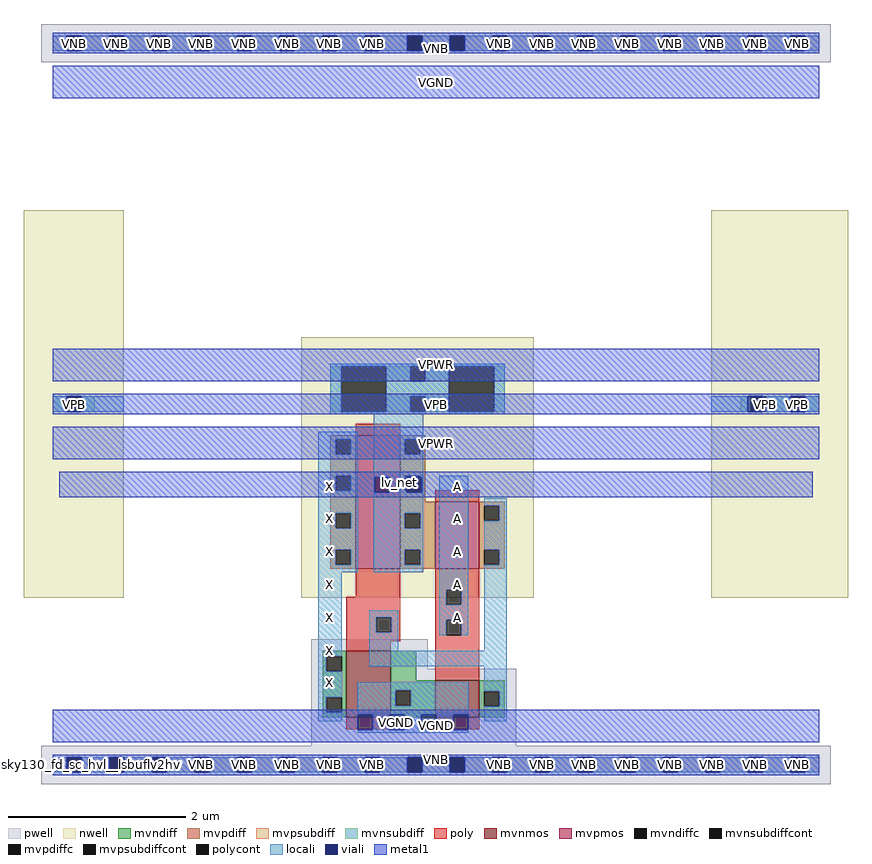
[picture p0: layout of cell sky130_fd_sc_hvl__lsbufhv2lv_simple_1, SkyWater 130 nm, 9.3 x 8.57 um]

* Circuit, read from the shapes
.subckt sky130_fd_sc_hvl__lsbufhv2lv_simple_1 A LVPWR VGND VNB VPB VPWR X
XM1 VGND n1 X VNB sky130_fd_pr__nfet_g5v0d10v5 w=0.75 l=0.5
XM2 n1 A VGND VNB sky130_fd_pr__nfet_g5v0d10v5 w=0.42 l=0.5
XM3 LVPWR n1 X LVPWR sky130_fd_pr__pfet_g5v0d10v5 w=1.5 l=0.5
XM4 n1 A LVPWR LVPWR sky130_fd_pr__pfet_g5v0d10v5 w=0.75 l=0.5
.ends

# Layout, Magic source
magic
tech sky130A
magscale 1 2
<< nwell >>
rect -66 377 160 1251
rect 560 377 1085 965
rect 1485 377 1794 1251
<< pwell >>
rect -26 1585 1754 1671
rect 583 217 845 283
rect 583 43 1045 217
rect -26 -43 1754 43
<< mvnmos >>
rect 662 107 762 257
rect 862 107 962 191
<< mvpmos >>
rect 683 443 783 743
rect 862 443 962 593
<< mvndiff >>
rect 609 245 662 257
rect 609 211 617 245
rect 651 211 662 245
rect 609 153 662 211
rect 609 119 617 153
rect 651 119 662 153
rect 609 107 662 119
rect 762 191 819 257
rect 762 168 862 191
rect 762 134 773 168
rect 807 134 862 168
rect 762 107 862 134
rect 962 166 1019 191
rect 962 132 973 166
rect 1007 132 1019 166
rect 962 107 1019 132
<< mvpdiff >>
rect 626 735 683 743
rect 626 701 638 735
rect 672 701 683 735
rect 626 652 683 701
rect 626 618 638 652
rect 672 618 683 652
rect 626 568 683 618
rect 626 534 638 568
rect 672 534 683 568
rect 626 485 683 534
rect 626 451 638 485
rect 672 451 683 485
rect 626 443 683 451
rect 783 735 840 743
rect 783 701 794 735
rect 828 701 840 735
rect 783 652 840 701
rect 783 618 794 652
rect 828 618 840 652
rect 783 593 840 618
rect 783 568 862 593
rect 783 534 794 568
rect 828 534 862 568
rect 783 485 862 534
rect 783 451 794 485
rect 828 451 862 485
rect 783 443 862 451
rect 962 585 1019 593
rect 962 551 973 585
rect 1007 551 1019 585
rect 962 485 1019 551
rect 962 451 973 485
rect 1007 451 1019 485
rect 962 443 1019 451
<< mvndiffc >>
rect 617 211 651 245
rect 617 119 651 153
rect 773 134 807 168
rect 973 132 1007 166
<< mvpdiffc >>
rect 638 701 672 735
rect 638 618 672 652
rect 638 534 672 568
rect 638 451 672 485
rect 794 701 828 735
rect 794 618 828 652
rect 794 534 828 568
rect 794 451 828 485
rect 973 551 1007 585
rect 973 451 1007 485
<< mvpsubdiff >>
rect 0 1611 31 1645
rect 65 1611 127 1645
rect 161 1611 223 1645
rect 257 1611 319 1645
rect 353 1611 415 1645
rect 449 1611 511 1645
rect 545 1611 607 1645
rect 641 1611 703 1645
rect 737 1611 799 1645
rect 833 1611 895 1645
rect 929 1611 991 1645
rect 1025 1611 1087 1645
rect 1121 1611 1183 1645
rect 1217 1611 1279 1645
rect 1313 1611 1375 1645
rect 1409 1611 1471 1645
rect 1505 1611 1567 1645
rect 1601 1611 1663 1645
rect 1697 1611 1728 1645
rect 0 -17 31 17
rect 65 -17 127 17
rect 161 -17 223 17
rect 257 -17 319 17
rect 353 -17 415 17
rect 449 -17 511 17
rect 545 -17 607 17
rect 641 -17 703 17
rect 737 -17 799 17
rect 833 -17 895 17
rect 929 -17 991 17
rect 1025 -17 1087 17
rect 1121 -17 1183 17
rect 1217 -17 1279 17
rect 1313 -17 1375 17
rect 1409 -17 1471 17
rect 1505 -17 1567 17
rect 1601 -17 1663 17
rect 1697 -17 1728 17
<< mvnsubdiff >>
rect 0 797 31 831
rect 65 797 94 831
rect 626 797 650 899
rect 752 865 806 899
rect 840 865 893 899
rect 752 831 893 865
rect 752 797 806 831
rect 840 797 893 831
rect 995 797 1019 899
rect 1551 797 1575 831
rect 1609 797 1663 831
rect 1697 797 1728 831
<< mvpsubdiffcont >>
rect 31 1611 65 1645
rect 127 1611 161 1645
rect 223 1611 257 1645
rect 319 1611 353 1645
rect 415 1611 449 1645
rect 511 1611 545 1645
rect 607 1611 641 1645
rect 703 1611 737 1645
rect 799 1611 833 1645
rect 895 1611 929 1645
rect 991 1611 1025 1645
rect 1087 1611 1121 1645
rect 1183 1611 1217 1645
rect 1279 1611 1313 1645
rect 1375 1611 1409 1645
rect 1471 1611 1505 1645
rect 1567 1611 1601 1645
rect 1663 1611 1697 1645
rect 31 -17 65 17
rect 127 -17 161 17
rect 223 -17 257 17
rect 319 -17 353 17
rect 415 -17 449 17
rect 511 -17 545 17
rect 607 -17 641 17
rect 703 -17 737 17
rect 799 -17 833 17
rect 895 -17 929 17
rect 991 -17 1025 17
rect 1087 -17 1121 17
rect 1183 -17 1217 17
rect 1279 -17 1313 17
rect 1375 -17 1409 17
rect 1471 -17 1505 17
rect 1567 -17 1601 17
rect 1663 -17 1697 17
<< mvnsubdiffcont >>
rect 31 797 65 831
rect 650 797 752 899
rect 806 865 840 899
rect 806 797 840 831
rect 893 797 995 899
rect 1575 797 1609 831
rect 1663 797 1697 831
<< poly >>
rect 683 743 783 769
rect 862 593 962 619
rect 683 379 783 443
rect 662 333 783 379
rect 662 299 729 333
rect 763 299 783 333
rect 662 279 783 299
rect 862 395 962 443
rect 862 361 887 395
rect 921 361 962 395
rect 862 327 962 361
rect 862 293 887 327
rect 921 293 962 327
rect 662 257 762 279
rect 862 191 962 293
rect 662 81 762 107
rect 862 81 962 107
<< polycont >>
rect 729 299 763 333
rect 887 361 921 395
rect 887 293 921 327
<< locali >>
rect 0 1611 31 1645
rect 65 1611 127 1645
rect 161 1611 223 1645
rect 257 1611 319 1645
rect 353 1611 415 1645
rect 449 1611 511 1645
rect 545 1611 607 1645
rect 641 1611 703 1645
rect 737 1611 799 1645
rect 833 1611 895 1645
rect 929 1611 991 1645
rect 1025 1611 1087 1645
rect 1121 1611 1183 1645
rect 1217 1611 1279 1645
rect 1313 1611 1375 1645
rect 1409 1611 1471 1645
rect 1505 1611 1567 1645
rect 1601 1611 1663 1645
rect 1697 1611 1728 1645
rect 626 899 1019 905
rect 0 797 31 831
rect 65 797 160 831
rect 626 797 650 899
rect 752 865 806 899
rect 840 865 893 899
rect 752 831 893 865
rect 752 797 806 831
rect 840 797 893 831
rect 995 797 1019 899
rect 1485 797 1567 831
rect 1609 797 1663 831
rect 1697 797 1728 831
rect 626 791 1019 797
rect 599 735 688 751
rect 599 701 638 735
rect 672 701 688 735
rect 599 652 688 701
rect 599 618 638 652
rect 672 618 688 652
rect 599 568 688 618
rect 599 534 638 568
rect 672 534 688 568
rect 599 485 688 534
rect 599 451 638 485
rect 672 451 688 485
rect 599 435 688 451
rect 724 735 835 791
rect 724 701 794 735
rect 828 701 835 735
rect 724 652 835 701
rect 724 649 794 652
rect 828 649 835 652
rect 724 615 726 649
rect 760 618 794 649
rect 760 615 798 618
rect 832 615 835 649
rect 724 568 835 615
rect 724 534 794 568
rect 828 534 835 568
rect 724 485 835 534
rect 724 451 794 485
rect 828 451 835 485
rect 724 435 835 451
rect 599 245 651 435
rect 871 395 937 652
rect 871 361 887 395
rect 921 361 937 395
rect 599 211 617 245
rect 713 333 779 349
rect 713 299 729 333
rect 763 299 779 333
rect 713 257 779 299
rect 871 327 937 361
rect 871 293 887 327
rect 921 293 937 327
rect 973 585 1023 601
rect 1007 551 1023 585
rect 973 485 1023 551
rect 1007 451 1023 485
rect 973 257 1023 451
rect 713 223 1023 257
rect 599 153 651 211
rect 599 119 617 153
rect 599 99 651 119
rect 687 168 937 187
rect 687 134 773 168
rect 807 134 937 168
rect 687 113 937 134
rect 721 79 759 113
rect 793 79 831 113
rect 865 79 903 113
rect 973 166 1023 223
rect 1007 132 1023 166
rect 973 99 1023 132
rect 687 73 937 79
rect 0 -17 31 17
rect 65 -17 127 17
rect 161 -17 223 17
rect 257 -17 319 17
rect 353 -17 415 17
rect 449 -17 511 17
rect 545 -17 607 17
rect 641 -17 703 17
rect 737 -17 799 17
rect 833 -17 895 17
rect 929 -17 991 17
rect 1025 -17 1087 17
rect 1121 -17 1183 17
rect 1217 -17 1279 17
rect 1313 -17 1375 17
rect 1409 -17 1471 17
rect 1505 -17 1567 17
rect 1601 -17 1663 17
rect 1697 -17 1728 17
<< viali >>
rect 31 1611 65 1645
rect 127 1611 161 1645
rect 223 1611 257 1645
rect 319 1611 353 1645
rect 415 1611 449 1645
rect 511 1611 545 1645
rect 607 1611 641 1645
rect 703 1611 737 1645
rect 799 1611 833 1645
rect 895 1611 929 1645
rect 991 1611 1025 1645
rect 1087 1611 1121 1645
rect 1183 1611 1217 1645
rect 1279 1611 1313 1645
rect 1375 1611 1409 1645
rect 1471 1611 1505 1645
rect 1567 1611 1601 1645
rect 1663 1611 1697 1645
rect 31 797 65 831
rect 1567 797 1575 831
rect 1575 797 1601 831
rect 1663 797 1697 831
rect 726 615 760 649
rect 798 618 828 649
rect 828 618 832 649
rect 798 615 832 618
rect 687 79 721 113
rect 759 79 793 113
rect 831 79 865 113
rect 903 79 937 113
rect 31 -17 65 17
rect 127 -17 161 17
rect 223 -17 257 17
rect 319 -17 353 17
rect 415 -17 449 17
rect 511 -17 545 17
rect 607 -17 641 17
rect 703 -17 737 17
rect 799 -17 833 17
rect 895 -17 929 17
rect 991 -17 1025 17
rect 1087 -17 1121 17
rect 1183 -17 1217 17
rect 1279 -17 1313 17
rect 1375 -17 1409 17
rect 1471 -17 1505 17
rect 1567 -17 1601 17
rect 1663 -17 1697 17
<< metal1 >>
rect 0 1645 1728 1651
rect 0 1611 31 1645
rect 65 1611 127 1645
rect 161 1611 223 1645
rect 257 1611 319 1645
rect 353 1611 415 1645
rect 449 1611 511 1645
rect 545 1611 607 1645
rect 641 1611 703 1645
rect 737 1611 799 1645
rect 833 1611 895 1645
rect 929 1611 991 1645
rect 1025 1611 1087 1645
rect 1121 1611 1183 1645
rect 1217 1611 1279 1645
rect 1313 1611 1375 1645
rect 1409 1611 1471 1645
rect 1505 1611 1567 1645
rect 1601 1611 1663 1645
rect 1697 1611 1728 1645
rect 0 1605 1728 1611
rect 0 1503 1728 1577
rect 0 865 1728 939
rect 0 831 1728 837
rect 0 797 31 831
rect 65 797 1567 831
rect 1601 797 1663 831
rect 1697 797 1728 831
rect 0 791 1728 797
rect 0 689 1728 763
rect 14 649 1714 661
rect 14 615 726 649
rect 760 615 798 649
rect 832 615 1714 649
rect 14 604 1714 615
rect 0 113 1728 125
rect 0 79 687 113
rect 721 79 759 113
rect 793 79 831 113
rect 865 79 903 113
rect 937 79 1728 113
rect 0 51 1728 79
rect 0 17 1728 23
rect 0 -17 31 17
rect 65 -17 127 17
rect 161 -17 223 17
rect 257 -17 319 17
rect 353 -17 415 17
rect 449 -17 511 17
rect 545 -17 607 17
rect 641 -17 703 17
rect 737 -17 799 17
rect 833 -17 895 17
rect 929 -17 991 17
rect 1025 -17 1087 17
rect 1121 -17 1183 17
rect 1217 -17 1279 17
rect 1313 -17 1375 17
rect 1409 -17 1471 17
rect 1505 -17 1567 17
rect 1601 -17 1663 17
rect 1697 -17 1728 17
rect 0 -23 1728 -17
<< labels >>
flabel locali s 607 538 641 572 0 FreeSans 340 0 0 0 X
port 7 nsew signal output
flabel locali s 895 538 929 572 0 FreeSans 340 0 0 0 A
port 1 nsew signal input
flabel locali s 895 612 929 646 0 FreeSans 340 0 0 0 A
port 1 nsew signal input
flabel locali s 607 464 641 498 0 FreeSans 340 0 0 0 X
port 7 nsew signal output
flabel locali s 607 390 641 424 0 FreeSans 340 0 0 0 X
port 7 nsew signal output
flabel locali s 895 316 929 350 0 FreeSans 340 0 0 0 A
port 1 nsew signal input
flabel locali s 895 464 929 498 0 FreeSans 340 0 0 0 A
port 1 nsew signal input
flabel locali s 607 316 641 350 0 FreeSans 340 0 0 0 X
port 7 nsew signal output
flabel locali s 607 242 641 276 0 FreeSans 340 0 0 0 X
port 7 nsew signal output
flabel locali s 607 612 641 646 0 FreeSans 340 0 0 0 X
port 7 nsew signal output
flabel locali s 895 390 929 424 0 FreeSans 340 0 0 0 A
port 1 nsew signal input
flabel locali s 607 168 641 202 0 FreeSans 340 0 0 0 X
port 7 nsew signal output
rlabel comment s 0 0 0 0 4 sky130_fd_sc_hvl__lsbuflv2hv_simple_1
flabel comment s 782 637 782 637 0 FreeSans 400 0 0 0 lv_net
flabel metal1 s 0 689 1728 763 0 FreeSans 200 0 0 0 VPWR
port 6 nsew power bidirectional
flabel metal1 s 0 865 1728 939 0 FreeSans 200 0 0 0 VPWR
port 6 nsew power bidirectional
flabel metal1 s 0 1503 1728 1577 0 FreeSans 340 0 0 0 VGND
port 3 nsew ground bidirectional
flabel metal1 s 0 51 1728 125 0 FreeSans 340 0 0 0 VGND
port 3 nsew ground bidirectional
flabel metal1 s 0 0 1728 23 0 FreeSans 340 0 0 0 VNB
port 4 nsew ground bidirectional
flabel metal1 s 14 604 1714 661 0 FreeSans 340 0 0 0 LVPWR
port 2 nsew power bidirectional
flabel metal1 s 0 791 1728 837 0 FreeSans 340 0 0 0 VPB
port 5 nsew power bidirectional
flabel metal1 s 0 1605 1728 1628 0 FreeSans 340 0 0 0 VNB
port 4 nsew ground bidirectional
rlabel viali s 798 615 832 649 1 LVPWR
port 2 nsew power bidirectional
rlabel viali s 726 615 760 649 1 LVPWR
port 2 nsew power bidirectional
rlabel metal1 s 14 604 1714 661 1 LVPWR
port 2 nsew power bidirectional
rlabel viali s 903 79 937 113 1 VGND
port 3 nsew ground bidirectional
rlabel viali s 831 79 865 113 1 VGND
port 3 nsew ground bidirectional
rlabel viali s 759 79 793 113 1 VGND
port 3 nsew ground bidirectional
rlabel viali s 687 79 721 113 1 VGND
port 3 nsew ground bidirectional
rlabel metal1 s 0 51 1728 125 1 VGND
port 3 nsew ground bidirectional
rlabel metal1 s 0 1503 1728 1577 1 VGND
port 3 nsew ground bidirectional
rlabel locali s 0 1611 1728 1645 1 VNB
port 4 nsew ground bidirectional
rlabel viali s 1663 1611 1697 1645 1 VNB
port 4 nsew ground bidirectional
rlabel viali s 1663 -17 1697 17 1 VNB
port 4 nsew ground bidirectional
rlabel viali s 1567 1611 1601 1645 1 VNB
port 4 nsew ground bidirectional
rlabel viali s 1567 -17 1601 17 1 VNB
port 4 nsew ground bidirectional
rlabel viali s 1471 1611 1505 1645 1 VNB
port 4 nsew ground bidirectional
rlabel viali s 1471 -17 1505 17 1 VNB
port 4 nsew ground bidirectional
rlabel viali s 1375 1611 1409 1645 1 VNB
port 4 nsew ground bidirectional
rlabel viali s 1375 -17 1409 17 1 VNB
port 4 nsew ground bidirectional
rlabel viali s 1279 1611 1313 1645 1 VNB
port 4 nsew ground bidirectional
rlabel viali s 1279 -17 1313 17 1 VNB
port 4 nsew ground bidirectional
rlabel viali s 1183 1611 1217 1645 1 VNB
port 4 nsew ground bidirectional
rlabel viali s 1183 -17 1217 17 1 VNB
port 4 nsew ground bidirectional
rlabel viali s 1087 1611 1121 1645 1 VNB
port 4 nsew ground bidirectional
rlabel viali s 1087 -17 1121 17 1 VNB
port 4 nsew ground bidirectional
rlabel viali s 991 1611 1025 1645 1 VNB
port 4 nsew ground bidirectional
rlabel viali s 991 -17 1025 17 1 VNB
port 4 nsew ground bidirectional
rlabel viali s 895 1611 929 1645 1 VNB
port 4 nsew ground bidirectional
rlabel viali s 895 -17 929 17 1 VNB
port 4 nsew ground bidirectional
rlabel viali s 799 1611 833 1645 1 VNB
port 4 nsew ground bidirectional
rlabel viali s 799 -17 833 17 1 VNB
port 4 nsew ground bidirectional
rlabel viali s 703 1611 737 1645 1 VNB
port 4 nsew ground bidirectional
rlabel viali s 703 -17 737 17 1 VNB
port 4 nsew ground bidirectional
rlabel viali s 607 1611 641 1645 1 VNB
port 4 nsew ground bidirectional
rlabel viali s 607 -17 641 17 1 VNB
port 4 nsew ground bidirectional
rlabel viali s 511 1611 545 1645 1 VNB
port 4 nsew ground bidirectional
rlabel viali s 511 -17 545 17 1 VNB
port 4 nsew ground bidirectional
rlabel viali s 415 1611 449 1645 1 VNB
port 4 nsew ground bidirectional
rlabel viali s 415 -17 449 17 1 VNB
port 4 nsew ground bidirectional
rlabel viali s 319 1611 353 1645 1 VNB
port 4 nsew ground bidirectional
rlabel viali s 319 -17 353 17 1 VNB
port 4 nsew ground bidirectional
rlabel viali s 223 1611 257 1645 1 VNB
port 4 nsew ground bidirectional
rlabel viali s 223 -17 257 17 1 VNB
port 4 nsew ground bidirectional
rlabel viali s 127 1611 161 1645 1 VNB
port 4 nsew ground bidirectional
rlabel viali s 127 -17 161 17 1 VNB
port 4 nsew ground bidirectional
rlabel viali s 31 1611 65 1645 1 VNB
port 4 nsew ground bidirectional
rlabel viali s 31 -17 65 17 1 VNB
port 4 nsew ground bidirectional
rlabel metal1 s 0 -23 1728 23 1 VNB
port 4 nsew ground bidirectional
rlabel metal1 s 0 1605 1728 1651 1 VNB
port 4 nsew ground bidirectional
rlabel locali s 1485 797 1728 831 1 VPB
port 5 nsew power bidirectional
rlabel viali s 1663 797 1697 831 1 VPB
port 5 nsew power bidirectional
rlabel viali s 1567 797 1601 831 1 VPB
port 5 nsew power bidirectional
rlabel viali s 31 797 65 831 1 VPB
port 5 nsew power bidirectional
rlabel metal1 s 0 791 1728 837 1 VPB
port 5 nsew power bidirectional
rlabel metal1 s 0 865 1728 939 1 VPWR
port 6 nsew power bidirectional
<< properties >>
string FIXED_BBOX 0 0 1728 1628
string GDS_END 127630
string GDS_FILE $PDKPATH/libs.ref/sky130_fd_sc_hvl/gds/sky130_fd_sc_hvl.gds
string GDS_START 114694
string LEFclass CORE
string LEFsite unithvdbl
string LEFsymmetry X Y
<< end >>
